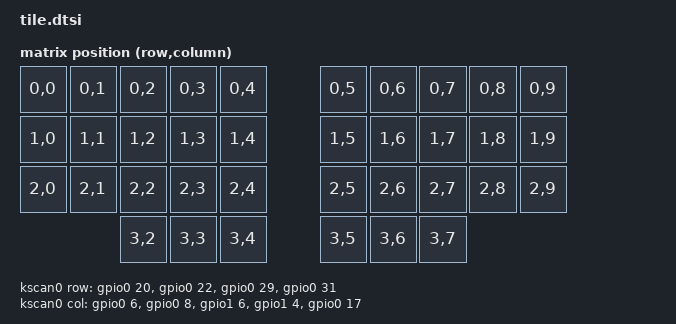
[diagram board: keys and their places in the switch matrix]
#include <dt-bindings/zmk/matrix_transform.h>

/ {
    chosen {
        zmk,kscan = &kscan0;
        zmk,matrix_transform = &default_transform;
    };

    default_transform: keymap_transform_0 {
        compatible = "zmk,matrix-transform";
        columns = <10>; // 5 na lewą + 5 na prawą połówkę
        rows = <4>;     // 4 rzędy na połówkę
        
        // Mapa logiczna przypisująca fizyczne przyciski do układu
        map = <
            RC(0,0) RC(0,1) RC(0,2) RC(0,3) RC(0,4)   RC(0,5) RC(0,6) RC(0,7) RC(0,8) RC(0,9)
            RC(1,0) RC(1,1) RC(1,2) RC(1,3) RC(1,4)   RC(1,5) RC(1,6) RC(1,7) RC(1,8) RC(1,9)
            RC(2,0) RC(2,1) RC(2,2) RC(2,3) RC(2,4)   RC(2,5) RC(2,6) RC(2,7) RC(2,8) RC(2,9)
                            RC(3,2) RC(3,3) RC(3,4)   RC(3,5) RC(3,6) RC(3,7)
        >;
    };

    kscan0: kscan {
        compatible = "zmk,kscan-gpio-matrix";
        label = "KSCAN";
        
        // Ergogen domyślnie używa polaryzacji col2row. 
        // Jeśli wlutowałeś diody odwrotnie, zmienisz to na "row2col".
        diode-direction = "col2row"; 

        row-gpios
            = <&gpio0 20 (GPIO_ACTIVE_HIGH | GPIO_PULL_DOWN)> // top (P020)
            , <&gpio0 22 (GPIO_ACTIVE_HIGH | GPIO_PULL_DOWN)> // home (P022)
            , <&gpio0 29 (GPIO_ACTIVE_HIGH | GPIO_PULL_DOWN)> // bottom (P029)
            , <&gpio0 31 (GPIO_ACTIVE_HIGH | GPIO_PULL_DOWN)> // thumb (P031)
            ;

        col-gpios
            = <&gpio0 6 GPIO_ACTIVE_HIGH>  // pinky (P006)
            , <&gpio0 8 GPIO_ACTIVE_HIGH>  // ring (P008)
            , <&gpio1 6 GPIO_ACTIVE_HIGH>  // middle (P106)
            , <&gpio1 4 GPIO_ACTIVE_HIGH>  // index (P104)
            , <&gpio0 17 GPIO_ACTIVE_HIGH> // inner (P017)
            ;
    };
};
